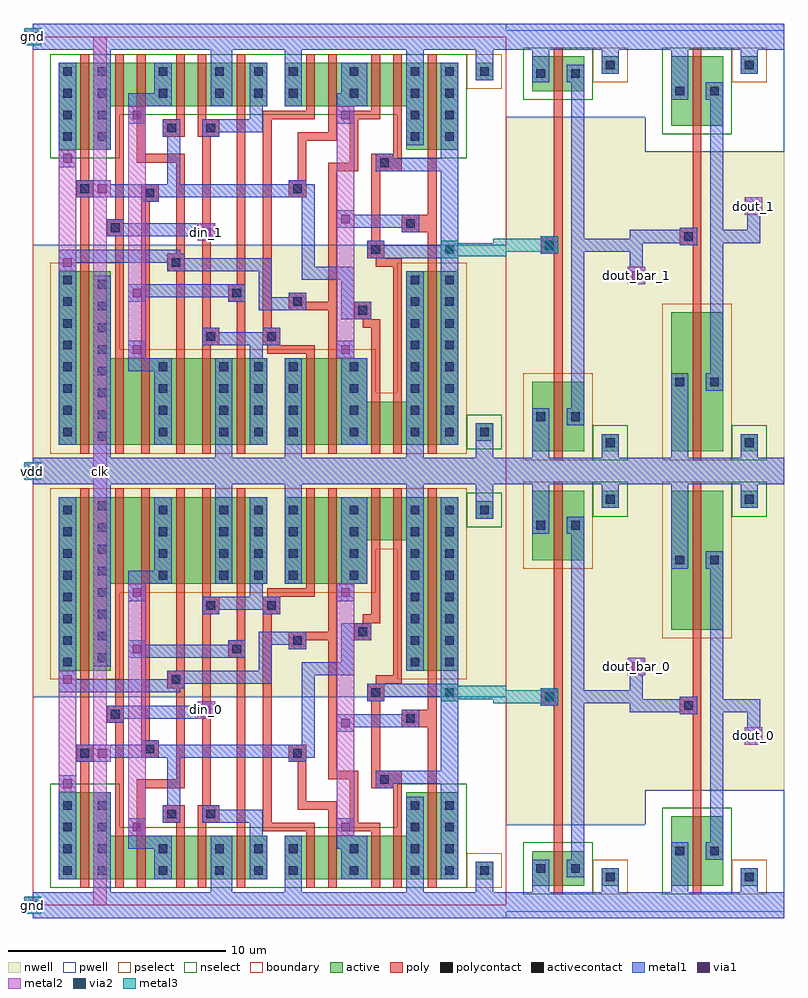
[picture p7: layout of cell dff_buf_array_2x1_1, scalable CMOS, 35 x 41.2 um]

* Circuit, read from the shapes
.subckt dff_buf_array_2x1_1 clk din_0 din_1 dout_0 dout_1 dout_bar_0 dout_bar_1 gnd vdd
M1 gnd clk n1 gnd nfet w=4u l=0.4u
M2 gnd clk n2 gnd nfet w=4u l=0.4u
M3 n3 din_0 gnd gnd nfet w=2u l=0.4u
M4 n4 din_1 gnd gnd nfet w=2u l=0.4u
M5 n5 n1 n3 gnd nfet w=2u l=0.4u
M6 n6 n2 n4 gnd nfet w=2u l=0.4u
M7 n7 clk n5 gnd nfet w=2u l=0.4u
M8 n8 clk n6 gnd nfet w=2u l=0.4u
M9 gnd n9 n7 gnd nfet w=2u l=0.4u
M10 gnd n10 n8 gnd nfet w=2u l=0.4u
M11 n9 n5 gnd gnd nfet w=2u l=0.4u
M12 n10 n6 gnd gnd nfet w=2u l=0.4u
M13 n11 n9 gnd gnd nfet w=2u l=0.4u
M14 n12 n10 gnd gnd nfet w=2u l=0.4u
M15 n13 clk n11 gnd nfet w=2u l=0.4u
M16 n14 clk n12 gnd nfet w=2u l=0.4u
M17 n15 n1 n13 gnd nfet w=2u l=0.4u
M18 n16 n2 n14 gnd nfet w=2u l=0.4u
M19 gnd dff_buf_2_0/pinv_9_1/A n15 gnd nfet w=2u l=0.4u
M20 gnd dff_buf_2_1/pinv_9_1/A n16 gnd nfet w=2u l=0.4u
M21 dff_buf_2_0/pinv_9_1/A n13 gnd gnd nfet w=4u l=0.4u
M22 dff_buf_2_1/pinv_9_1/A n14 gnd gnd nfet w=4u l=0.4u
M23 dout_bar_0 dff_buf_2_0/pinv_9_1/A gnd gnd nfet w=1.6u l=0.4u
M24 dout_bar_1 dff_buf_2_1/pinv_9_1/A gnd gnd nfet w=1.6u l=0.4u
M25 dout_0 dout_bar_0 gnd gnd nfet w=3.2u l=0.4u
M26 dout_1 dout_bar_1 gnd gnd nfet w=3.2u l=0.4u
M27 vdd clk n1 vdd pfet w=8u l=0.4u
M28 vdd clk n2 vdd pfet w=8u l=0.4u
M29 n17 din_0 vdd vdd pfet w=4u l=0.4u
M30 n18 din_1 vdd vdd pfet w=4u l=0.4u
M31 n5 clk n17 vdd pfet w=4u l=0.4u
M32 n6 clk n18 vdd pfet w=4u l=0.4u
M33 n19 n1 n5 vdd pfet w=4u l=0.4u
M34 n20 n2 n6 vdd pfet w=4u l=0.4u
M35 vdd n9 n19 vdd pfet w=4u l=0.4u
M36 vdd n10 n20 vdd pfet w=4u l=0.4u
M37 n9 n5 vdd vdd pfet w=4u l=0.4u
M38 n10 n6 vdd vdd pfet w=4u l=0.4u
M39 n21 n9 vdd vdd pfet w=4u l=0.4u
M40 n22 n10 vdd vdd pfet w=4u l=0.4u
M41 n13 n1 n21 vdd pfet w=4u l=0.4u
M42 n14 n2 n22 vdd pfet w=4u l=0.4u
M43 n23 clk n13 vdd pfet w=2u l=0.4u
M44 n24 clk n14 vdd pfet w=2u l=0.4u
M45 vdd dff_buf_2_0/pinv_9_1/A n23 vdd pfet w=2u l=0.4u
M46 vdd dff_buf_2_1/pinv_9_1/A n24 vdd pfet w=2u l=0.4u
M47 dff_buf_2_0/pinv_9_1/A n13 vdd vdd pfet w=8u l=0.4u
M48 dff_buf_2_1/pinv_9_1/A n14 vdd vdd pfet w=8u l=0.4u
M49 dout_bar_0 dff_buf_2_0/pinv_9_1/A vdd vdd pfet w=3.2u l=0.4u
M50 dout_bar_1 dff_buf_2_1/pinv_9_1/A vdd vdd pfet w=3.2u l=0.4u
M51 dout_0 dout_bar_0 vdd vdd pfet w=6.4u l=0.4u
M52 dout_1 dout_bar_1 vdd vdd pfet w=6.4u l=0.4u
.ends

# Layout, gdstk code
from math import pi, radians
import gdstk
lib = gdstk.Library(unit=1e-6, precision=1e-09)
def R(c, l, rs):  # rectangles x0, y0, x1, y1
    for r in rs: c.add(gdstk.rectangle(r[:2], r[2:], *l))
def A(c, l, x, y, w, h, nx, ny, dx, dy):  # array of equal rectangles
    R(c, l, [(x+i*dx, y+j*dy, x+i*dx+w, y+j*dy+h) for i in range(nx) for j in range(ny)])
pwell = (41, 0)
nwell = (42, 0)
active = (43, 0)
pselect = (44, 0)
nselect = (45, 0)
poly = (46, 0)
polycontact = (47, 0)
activecontact = (48, 0)
metal1 = (49, 0)
via1 = (50, 0)
metal2 = (51, 0)
via2 = (61, 0)
metal3 = (62, 0)
boundary = (63, 0)

dff = lib.new_cell('dff')
R(dff, pwell, [(0,-0.6,21.8,9.6)])
R(dff, nwell, [(0,9.6,21.8,20.6)])
R(dff, active, [(1.2,1.2,10.8,3.2), (11.6,1.2,19.6,3.2), (20.4,1.2,21.2,2), (1.2,3.2,3.6,5.2), (17.2,3.2,19.6,5.2), (1.2,10.8,3.6,14.8), (17.2,10.8,19.6,16.8), (1.2,14.8,10.8,18.8), (11.6,14.8,15.4,16.8), (11.6,16.8,19.6,18.8), (20.4,17.8,21.2,18.6)])
R(dff, pselect, [(20,0.8,21.6,2.4), (0.8,10.4,4,14.4), (16.8,10.4,20,16.4), (0.8,14.4,15.8,16.4), (0.8,16.4,20,19.2)])
R(dff, nselect, [(0.8,0.8,20,3.6), (0.8,3.6,4,5.6), (16.8,3.6,20,5.6), (20,17.4,21.6,19)])
R(dff, poly, [(2.2,0.8,2.6,6.6), (3.8,0.8,4.2,8.4), (4.8,0.8,5.2,5.4), (6.6,0.8,7,3.8), (7.6,0.8,8,3.8), (9.4,0.8,9.8,11.4), (12.6,0.8,13,3.4), (13.6,0.8,14,4.4), (15.6,0.8,16,3.4), (16.6,0.8,17,5.4), (18.2,0.8,18.6,8.2), (10.6,3.4,13,3.8), (14.6,3.4,16,3.8), (6,3.8,7,4.6), (7.6,3.8,8.6,4.6), (10.6,3.8,11,13.4), (14.6,3.8,15,5.8), (12.2,4.4,14,4.8), (7.8,4.6,8.2,13.4), (12.2,4.8,12.6,6.6), (4.8,5.4,7,5.8), (15.6,5.4,17,6.2), (6.6,5.8,7,10), (13.6,5.8,15,6.2), (13.6,6.2,14,12.2), (15.6,6.2,16,9.4), (2,6.6,2.8,7.4), (11.8,6.6,12.6,7.4), (5,6.8,5.8,7.6), (2.2,7.4,2.6,19.2), (5,7.6,5.4,19.2), (17,8.2,18.6,9), (3.4,8.4,4.2,9.2), (18.2,9,18.6,19.2), (3.8,9.2,4.2,19.2), (15.4,9.4,16.2,10.2), (6.2,10,7,10.8), (15.8,10.2,17,10.6), (16.6,10.6,17,19.2), (6.6,10.8,7,19.2), (9,11.4,9.8,12.2), (11.8,11.8,12.6,12.2), (9.4,12.2,9.8,19.2), (11.8,12.2,14,12.6), (14.8,12.2,15.6,13), (13.6,12.6,14,19.2), (15.2,13,16,13.4), (7.8,13.4,8.6,14.2), (10.6,13.4,11.4,14.2), (15.6,13.4,16,19.2), (7.8,14.2,8.2,19.2), (10.8,14.2,13,14.6), (12.6,14.6,13,19.2)])
R(dff, polycontact, [(6.2,4,6.6,4.4), (8,4,8.4,4.4), (16,5.6,16.4,6), (2.2,6.8,2.6,7.2), (12,6.8,12.4,7.2), (5.2,7,5.6,7.4), (17.2,8.4,17.6,8.8), (3.6,8.6,4,9), (15.6,9.6,16,10), (6.4,10.2,6.8,10.6), (9.2,11.6,9.6,12), (12,12,12.4,12.4), (15,12.4,15.4,12.8), (8,13.6,8.4,14), (10.8,13.6,11.2,14)])
A(dff, activecontact, 1.4, 1.4, 0.4, 0.4, 1, 4, 0, 1)
A(dff, activecontact, 3, 1.4, 0.4, 0.4, 1, 4, 0, 1)
A(dff, activecontact, 11.8, 1.4, 0.4, 0.4, 3, 2, 2.8, 1)
A(dff, activecontact, 19, 1.4, 0.4, 0.4, 1, 4, 0, 1)
A(dff, activecontact, 1.4, 11, 0.4, 0.4, 1, 8, 0, 1)
A(dff, activecontact, 17.4, 11, 0.4, 0.4, 1, 7, 0, 1)
A(dff, activecontact, 19, 11, 0.4, 0.4, 1, 7, 0, 1)
A(dff, activecontact, 3, 11.2, 0.4, 0.4, 1, 8, 0, 1)
A(dff, activecontact, 5.8, 15, 0.4, 0.4, 1, 4, 0, 1)
A(dff, activecontact, 8.6, 15, 0.4, 0.4, 3, 4, 1.6, 1)
A(dff, activecontact, 14.6, 15, 0.4, 0.4, 1, 4, 0, 1)
A(dff, activecontact, 17.4, 18, 0.4, 0.4, 3, 1, 1.6, 0)
R(dff, activecontact, [(5.8,1.4,6.2,1.8), (8.4,1.4,8.8,1.8), (10.2,1.4,10.6,1.8), (20.6,1.4,21,1.8), (5.8,2.4,6.2,2.8), (8.4,2.4,8.8,2.8), (10.2,2.4,10.6,2.8), (17.4,3.4,17.8,3.8), (17.4,4.4,17.8,4.8)])
R(dff, metal1, [(0,-0.6,21.8,0.6), (0,-0.6,21.8,0.6), (2.8,0.6,3.6,5.2), (8.2,0.6,9.2,3.2), (11.6,0.6,12.4,3.2), (17.2,0.6,18,5), (20.4,0.6,21.2,2), (1.2,1.2,2,6), (5.6,1.2,6.4,2.6), (10,1.2,10.8,3.2), (14.2,1.2,15.4,2.6), (18.8,1.2,19.6,5.6), (4.4,2.6,6.4,3.2), (14,2.6,15.4,3.2), (4.4,3.2,5.2,4), (10,3.2,10.6,3.8), (14,3.2,14.8,4), (6,3.8,6.8,4.6), (7.8,3.8,10.6,4.4), (7.8,4.4,8.6,4.6), (6.2,4.6,6.8,6.8), (15.8,5.4,16.6,5.6), (15.8,5.6,19.6,6.2), (18.8,6.2,19.6,9.6), (2,6.6,3.6,6.8), (11.8,6.6,12.6,6.8), (2,6.8,13,7.4), (5,7.4,5.8,7.6), (12.4,7.4,13,10.6), (14,8,14.8,8.2), (14,8.2,17.8,8.8), (3.4,8.4,4.2,8.6), (3.4,8.6,8.4,9.2), (17,8.8,17.8,9), (7.6,9.2,8.4,9.4), (15.4,9.4,16.2,9.6), (15.4,9.6,19.6,10.2), (1.2,9.8,6.8,10), (1.2,10,7,10.2), (1.2,10.2,11,10.4), (18.8,10.2,19.6,18.8), (1.2,10.4,2,18.8), (6.2,10.4,11,10.8), (12.4,10.6,14.8,11.2), (10.4,10.8,11,12), (17.2,10.8,18,19.4), (2.8,11,3.6,19.4), (14.2,11.2,14.8,12.2), (4.4,11.4,9.8,12), (11.8,11.8,12.6,12), (4.4,12,5.2,12.2), (9,12,9.8,12.2), (10.4,12,12.6,12.6), (14.2,12.2,15.6,13), (7.8,13.4,8.6,13.6), (10.6,13.4,11.4,13.6), (7.8,13.6,11.4,14.2), (4.4,14,5.2,14.8), (14,14,14.8,14.8), (10,14.2,10.6,14.8), (4.4,14.8,6.4,15.4), (8.4,14.8,9.2,19.4), (10,14.8,10.8,18.8), (11.6,14.8,12.4,19.4), (14.2,14.8,15.4,18.8), (5.6,15.4,6.4,18.8), (20.4,17.8,21.2,19.4), (0,19.4,21.8,20.6), (0,19.4,21.8,20.6)])
R(dff, via1, [(4.6,3.4,5,3.8), (14.2,3.4,14.6,3.8), (1.4,5.4,1.8,5.8), (3,6.8,3.4,7.2), (14.2,8.2,14.6,8.6), (7.8,8.8,8.2,9.2), (19,9.6,19.4,10), (1.4,10.2,1.8,10.6), (4.6,11.6,5,12), (4.6,14.2,5,14.6), (14.2,14.2,14.6,14.6)])
R(dff, metal2, [(4.4,3.2,5.2,14.8), (14,3.2,14.8,14.8), (1.2,5.2,2,10.8), (2.8,6.6,3.6,7.4), (2.8,6.6,3.6,7.4), (7.6,8.6,8.4,9.4), (7.6,8.6,8.4,9.4), (18.8,9.4,19.6,10.2), (18.8,9.4,19.6,10.2)])
R(dff, boundary, [(0,0,21.8,20)])
dff.add(gdstk.Label('clk', (3,6.8), layer=51, texttype=0))
dff.add(gdstk.Label('D', (8,9), layer=51, texttype=0))
dff.add(gdstk.Label('Q', (19.2,9.8), layer=51, texttype=0))
dff.add(gdstk.Label('vdd', (6.4,19.6), layer=49, texttype=0))
dff.add(gdstk.Label('gnd', (8.8,0.2), layer=49, texttype=0))
dff.add(gdstk.Label('D', (8,9), layer=51, texttype=0))
dff.add(gdstk.Label('Q', (19.2,9.8), layer=51, texttype=0))
dff.add(gdstk.Label('clk', (3.2,7), layer=51, texttype=0))
dff.add(gdstk.Label('vdd', (10.9,20), layer=49, texttype=0))
dff.add(gdstk.Label('gnd', (10.9,0), layer=49, texttype=0))

active_contact_metal1_1x = lib.new_cell('active_contact_metal1_1x1_pn')
R(active_contact_metal1_1x, nwell, [(-1.2,-1.2,2,2)])
R(active_contact_metal1_1x, active, [(0,0,0.8,0.8)])
R(active_contact_metal1_1x, pselect, [(-0.4,-0.4,1.2,1.2)])
R(active_contact_metal1_1x, activecontact, [(0.2,0.2,0.6,0.6)])
R(active_contact_metal1_1x, metal1, [(0,0,0.8,0.8)])

pmos_m1_w3_2_a_p = lib.new_cell('pmos_m1_w3_2_a_p')
R(pmos_m1_w3_2_a_p, nwell, [(-1.2,-1.2,3.6,4.4)])
R(pmos_m1_w3_2_a_p, active, [(0,0,2.4,3.2)])
R(pmos_m1_w3_2_a_p, pselect, [(-0.4,-0.4,2.8,3.6)])
R(pmos_m1_w3_2_a_p, poly, [(1,-0.4,1.4,3.6), (1,-0.4,1.4,3.6)])
R(pmos_m1_w3_2_a_p, metal1, [(0,1.2,0.8,2), (1.6,1.2,2.4,2)])
pmos_m1_w3_2_a_p.add(gdstk.Reference(active_contact_metal1_1x, (0,1.2)))
pmos_m1_w3_2_a_p.add(gdstk.Reference(active_contact_metal1_1x, (1.6,1.2)))
pmos_m1_w3_2_a_p.add(gdstk.Label('G', (1.2,1.6), layer=46, texttype=0))
pmos_m1_w3_2_a_p.add(gdstk.Label('S', (0.4,1.6), layer=49, texttype=0))
pmos_m1_w3_2_a_p.add(gdstk.Label('D', (2,1.6), layer=49, texttype=0))

c_active_contact_metal1_1x = lib.new_cell('active_contact_metal1_1x1_np')
R(c_active_contact_metal1_1x, pwell, [(-1.2,-1.2,2,2)])
R(c_active_contact_metal1_1x, active, [(0,0,0.8,0.8)])
R(c_active_contact_metal1_1x, nselect, [(-0.4,-0.4,1.2,1.2)])
R(c_active_contact_metal1_1x, activecontact, [(0.2,0.2,0.6,0.6)])
R(c_active_contact_metal1_1x, metal1, [(0,0,0.8,0.8)])

nmos_m1_w1_6_a_p = lib.new_cell('nmos_m1_w1_6_a_p')
R(nmos_m1_w1_6_a_p, pwell, [(-1.2,-1.2,3.6,2.8)])
R(nmos_m1_w1_6_a_p, active, [(0,0,2.4,1.6)])
R(nmos_m1_w1_6_a_p, nselect, [(-0.4,-0.4,2.8,2)])
R(nmos_m1_w1_6_a_p, poly, [(1,-0.4,1.4,2), (1,-0.4,1.4,2)])
R(nmos_m1_w1_6_a_p, metal1, [(0,0.4,0.8,1.2), (1.6,0.4,2.4,1.2)])
nmos_m1_w1_6_a_p.add(gdstk.Reference(c_active_contact_metal1_1x, (0,0.4)))
nmos_m1_w1_6_a_p.add(gdstk.Reference(c_active_contact_metal1_1x, (1.6,0.4)))
nmos_m1_w1_6_a_p.add(gdstk.Label('G', (1.2,0.8), layer=46, texttype=0))
nmos_m1_w1_6_a_p.add(gdstk.Label('S', (0.4,0.8), layer=49, texttype=0))
nmos_m1_w1_6_a_p.add(gdstk.Label('D', (2,0.8), layer=49, texttype=0))

c_active_contact_metal1_1x_ = lib.new_cell('active_contact_metal1_1x1_nn')
R(c_active_contact_metal1_1x_, nwell, [(-1.2,-1.2,2,2)])
R(c_active_contact_metal1_1x_, active, [(0,0,0.8,0.8)])
R(c_active_contact_metal1_1x_, nselect, [(-0.4,-0.4,1.2,1.2)])
R(c_active_contact_metal1_1x_, activecontact, [(0.2,0.2,0.6,0.6)])
R(c_active_contact_metal1_1x_, metal1, [(0,0,0.8,0.8)])

c_active_contact_metal1_1x__ = lib.new_cell('active_contact_metal1_1x1_pp')
R(c_active_contact_metal1_1x__, pwell, [(-1.2,-1.2,2,2)])
R(c_active_contact_metal1_1x__, active, [(0,0,0.8,0.8)])
R(c_active_contact_metal1_1x__, pselect, [(-0.4,-0.4,1.2,1.2)])
R(c_active_contact_metal1_1x__, activecontact, [(0.2,0.2,0.6,0.6)])
R(c_active_contact_metal1_1x__, metal1, [(0,0,0.8,0.8)])

poly_contact_metal1_1x1 = lib.new_cell('poly_contact_metal1_1x1')
R(poly_contact_metal1_1x1, poly, [(0,0,0.8,0.8)])
R(poly_contact_metal1_1x1, polycontact, [(0.2,0.2,0.6,0.6)])
R(poly_contact_metal1_1x1, metal1, [(0,0,0.8,0.8)])

pinv_9 = lib.new_cell('pinv_9')
R(pinv_9, pwell, [(0,-0.3,6.4,3.7)])
R(pinv_9, nwell, [(0,3.7,6.4,20.3)])
R(pinv_9, poly, [(2.2,0.5,2.6,15.5), (2,9.2,2.2,10)])
R(pinv_9, metal1, [(0,-0.3,6.4,0.3), (1.2,-0.3,2,1.3), (4.4,0,5.2,1.3), (3,1.3,3.6,17.1), (1.6,9.2,2.4,10), (3.3,9.3,3.9,9.9), (1.2,17.1,2,20.3), (4.4,18.7,5.2,20), (0,19.7,6.4,20.3)])
pinv_9.add(gdstk.Reference(pmos_m1_w3_2_a_p, (1.2,15.9)))
pinv_9.add(gdstk.Reference(nmos_m1_w1_6_a_p, (1.2,0.9)))
pinv_9.add(gdstk.Reference(c_active_contact_metal1_1x_, (4.4,18.3)))
pinv_9.add(gdstk.Reference(c_active_contact_metal1_1x__, (4.4,0.9)))
pinv_9.add(gdstk.Reference(poly_contact_metal1_1x1, (1.6,9.2)))
pinv_9.add(gdstk.Label('gnd', (3.2,0), layer=49, texttype=0))
pinv_9.add(gdstk.Label('vdd', (3.2,20), layer=49, texttype=0))
pinv_9.add(gdstk.Label('A', (2,9.6), layer=49, texttype=0))
pinv_9.add(gdstk.Label('Z', (3.6,9.6), layer=49, texttype=0))

pmos_m1_w6_4_a_p = lib.new_cell('pmos_m1_w6_4_a_p')
R(pmos_m1_w6_4_a_p, nwell, [(-1.2,-1.2,3.6,7.6)])
R(pmos_m1_w6_4_a_p, active, [(0,0,2.4,6.4)])
R(pmos_m1_w6_4_a_p, pselect, [(-0.4,-0.4,2.8,6.8)])
R(pmos_m1_w6_4_a_p, poly, [(1,-0.4,1.4,6.8), (1,-0.4,1.4,6.8)])
R(pmos_m1_w6_4_a_p, metal1, [(0,2.8,0.8,3.6), (1.6,2.8,2.4,3.6)])
pmos_m1_w6_4_a_p.add(gdstk.Reference(active_contact_metal1_1x, (0,2.8)))
pmos_m1_w6_4_a_p.add(gdstk.Reference(active_contact_metal1_1x, (1.6,2.8)))
pmos_m1_w6_4_a_p.add(gdstk.Label('G', (1.2,3.2), layer=46, texttype=0))
pmos_m1_w6_4_a_p.add(gdstk.Label('S', (0.4,3.2), layer=49, texttype=0))
pmos_m1_w6_4_a_p.add(gdstk.Label('D', (2,3.2), layer=49, texttype=0))

nmos_m1_w3_2_a_p = lib.new_cell('nmos_m1_w3_2_a_p')
R(nmos_m1_w3_2_a_p, pwell, [(-1.2,-1.2,3.6,4.4)])
R(nmos_m1_w3_2_a_p, active, [(0,0,2.4,3.2)])
R(nmos_m1_w3_2_a_p, nselect, [(-0.4,-0.4,2.8,3.6)])
R(nmos_m1_w3_2_a_p, poly, [(1,-0.4,1.4,3.6), (1,-0.4,1.4,3.6)])
R(nmos_m1_w3_2_a_p, metal1, [(0,1.2,0.8,2), (1.6,1.2,2.4,2)])
nmos_m1_w3_2_a_p.add(gdstk.Reference(c_active_contact_metal1_1x, (0,1.2)))
nmos_m1_w3_2_a_p.add(gdstk.Reference(c_active_contact_metal1_1x, (1.6,1.2)))
nmos_m1_w3_2_a_p.add(gdstk.Label('G', (1.2,1.6), layer=46, texttype=0))
nmos_m1_w3_2_a_p.add(gdstk.Label('S', (0.4,1.6), layer=49, texttype=0))
nmos_m1_w3_2_a_p.add(gdstk.Label('D', (2,1.6), layer=49, texttype=0))

pinv_10 = lib.new_cell('pinv_10')
R(pinv_10, pwell, [(0,-0.3,6.4,5.3)])
R(pinv_10, nwell, [(0,5.3,6.4,20.3)])
R(pinv_10, poly, [(2.2,0.5,2.6,12.3), (2,8.8,2.2,9.6)])
R(pinv_10, metal1, [(0,-0.3,6.4,0.3), (1.2,-0.3,2,2.1), (4.4,0,5.2,1.3), (3,2.1,3.6,15.5), (1.6,8.8,2.4,9.6), (3.3,8.9,3.9,9.5), (1.2,15.5,2,20.3), (4.4,18.7,5.2,20), (0,19.7,6.4,20.3)])
pinv_10.add(gdstk.Reference(pmos_m1_w6_4_a_p, (1.2,12.7)))
pinv_10.add(gdstk.Reference(nmos_m1_w3_2_a_p, (1.2,0.9)))
pinv_10.add(gdstk.Reference(c_active_contact_metal1_1x_, (4.4,18.3)))
pinv_10.add(gdstk.Reference(c_active_contact_metal1_1x__, (4.4,0.9)))
pinv_10.add(gdstk.Reference(poly_contact_metal1_1x1, (1.6,8.8)))
pinv_10.add(gdstk.Label('gnd', (3.2,0), layer=49, texttype=0))
pinv_10.add(gdstk.Label('vdd', (3.2,20), layer=49, texttype=0))
pinv_10.add(gdstk.Label('A', (2,9.2), layer=49, texttype=0))
pinv_10.add(gdstk.Label('Z', (3.6,9.2), layer=49, texttype=0))

metal2_via2_metal3_1x1 = lib.new_cell('metal2_via2_metal3_1x1')
R(metal2_via2_metal3_1x1, metal2, [(0,0,0.8,0.8)])
R(metal2_via2_metal3_1x1, via2, [(0.2,0.2,0.6,0.6)])
R(metal2_via2_metal3_1x1, metal3, [(0,0,0.8,0.8)])

metal1_via1_metal2_1x1 = lib.new_cell('metal1_via1_metal2_1x1')
R(metal1_via1_metal2_1x1, metal1, [(0,0,0.8,0.8)])
R(metal1_via1_metal2_1x1, via1, [(0.2,0.2,0.6,0.6)])
R(metal1_via1_metal2_1x1, metal2, [(0,0,0.8,0.8)])

dff_buf_2 = lib.new_cell('dff_buf_2')
R(dff_buf_2, metal1, [(0,-0.6,34.6,0.6), (32.9,7.8,33.5,9.2), (27.5,8.9,28.1,9.5), (27.8,8.9,30.2,9.5), (31.8,8.9,33.2,9.5), (32.9,8.9,33.5,9.5), (27.5,9.2,28.1,9.6), (25.4,9.3,27.8,9.9), (27.5,9.3,28.1,9.9), (27.5,9.6,28.1,11), (0,19.4,34.6,20.6)])
R(dff_buf_2, metal2, [(2.8,6.6,3.6,7.4), (32.9,7.5,33.5,8.1), (7.6,8.6,8.4,9.4), (27.5,10.7,28.1,11.3)])
R(dff_buf_2, metal3, [(21.2,9.3,21.8,9.9), (21.5,9.3,23.8,9.9), (19.2,9.5,21.5,10.1), (21.2,9.5,21.8,10.1), (21.2,9.6,21.8,9.8)])
dff_buf_2.add(gdstk.Reference(dff, (0,0)))
dff_buf_2.add(gdstk.Reference(pinv_9, (21.8,0)))
dff_buf_2.add(gdstk.Reference(pinv_10, (28.2,0)))
dff_buf_2.add(gdstk.Reference(metal2_via2_metal3_1x1, (18.8,9.4)))
dff_buf_2.add(gdstk.Reference(metal2_via2_metal3_1x1, (23.4,9.2)))
dff_buf_2.add(gdstk.Reference(metal1_via1_metal2_1x1, (23.4,9.2)))
dff_buf_2.add(gdstk.Reference(metal1_via1_metal2_1x1, (32.8,7.4)))
dff_buf_2.add(gdstk.Reference(metal1_via1_metal2_1x1, (27.4,10.6)))
dff_buf_2.add(gdstk.Label('vdd', (17.3,20), layer=49, texttype=0))
dff_buf_2.add(gdstk.Label('gnd', (17.3,0), layer=49, texttype=0))
dff_buf_2.add(gdstk.Label('clk', (3.2,7), layer=51, texttype=0))
dff_buf_2.add(gdstk.Label('D', (8,9), layer=51, texttype=0))
dff_buf_2.add(gdstk.Label('Q', (33.2,7.8), layer=51, texttype=0))
dff_buf_2.add(gdstk.Label('Qb', (27.8,11), layer=51, texttype=0))

dff_buf_array_2x1_1 = lib.new_cell('dff_buf_array_2x1_1')
R(dff_buf_array_2x1_1, metal2, [(2.8,0,3.4,40), (32.9,7.5,33.5,8.1), (7.6,8.6,8.4,9.4), (27.5,10.7,28.1,11.3), (27.5,28.7,28.1,29.3), (7.6,30.6,8.4,31.4), (32.9,31.9,33.5,32.5)])
A(dff_buf_array_2x1_1, metal3, -0.4, -0.4, 0.8, 0.8, 1, 3, 0, 20)
dff_buf_array_2x1_1.add(gdstk.Reference(dff_buf_2, (0,0)))
dff_buf_array_2x1_1.add(gdstk.Reference(dff_buf_2, (0,40), x_reflection=True))
dff_buf_array_2x1_1.add(gdstk.Reference(metal1_via1_metal2_1x1, (0.4,19.6), rotation=pi/2))
dff_buf_array_2x1_1.add(gdstk.Reference(metal2_via2_metal3_1x1, (0.4,19.6), rotation=pi/2))
dff_buf_array_2x1_1.add(gdstk.Reference(metal1_via1_metal2_1x1, (0.4,-0.4), rotation=pi/2))
dff_buf_array_2x1_1.add(gdstk.Reference(metal2_via2_metal3_1x1, (0.4,-0.4), rotation=pi/2))
dff_buf_array_2x1_1.add(gdstk.Reference(metal1_via1_metal2_1x1, (0.4,19.6), rotation=pi/2))
dff_buf_array_2x1_1.add(gdstk.Reference(metal2_via2_metal3_1x1, (0.4,19.6), rotation=pi/2))
dff_buf_array_2x1_1.add(gdstk.Reference(metal1_via1_metal2_1x1, (0.4,39.6), rotation=pi/2))
dff_buf_array_2x1_1.add(gdstk.Reference(metal2_via2_metal3_1x1, (0.4,39.6), rotation=pi/2))
dff_buf_array_2x1_1.add(gdstk.Label('vdd', (0,20), layer=62, texttype=0))
dff_buf_array_2x1_1.add(gdstk.Label('gnd', (0,0), layer=62, texttype=0))
dff_buf_array_2x1_1.add(gdstk.Label('gnd', (0,40), layer=62, texttype=0))
dff_buf_array_2x1_1.add(gdstk.Label('din_0', (8,9), layer=51, texttype=0))
dff_buf_array_2x1_1.add(gdstk.Label('dout_0', (33.2,7.8), layer=51, texttype=0))
dff_buf_array_2x1_1.add(gdstk.Label('dout_bar_0', (27.8,11), layer=51, texttype=0))
dff_buf_array_2x1_1.add(gdstk.Label('din_1', (8,31), layer=51, texttype=0))
dff_buf_array_2x1_1.add(gdstk.Label('dout_1', (33.2,32.2), layer=51, texttype=0))
dff_buf_array_2x1_1.add(gdstk.Label('dout_bar_1', (27.8,29), layer=51, texttype=0))
dff_buf_array_2x1_1.add(gdstk.Label('clk', (3.1,20), layer=51, texttype=0))

lib.write_gds('dff_buf_array_2x1_1.gds')
